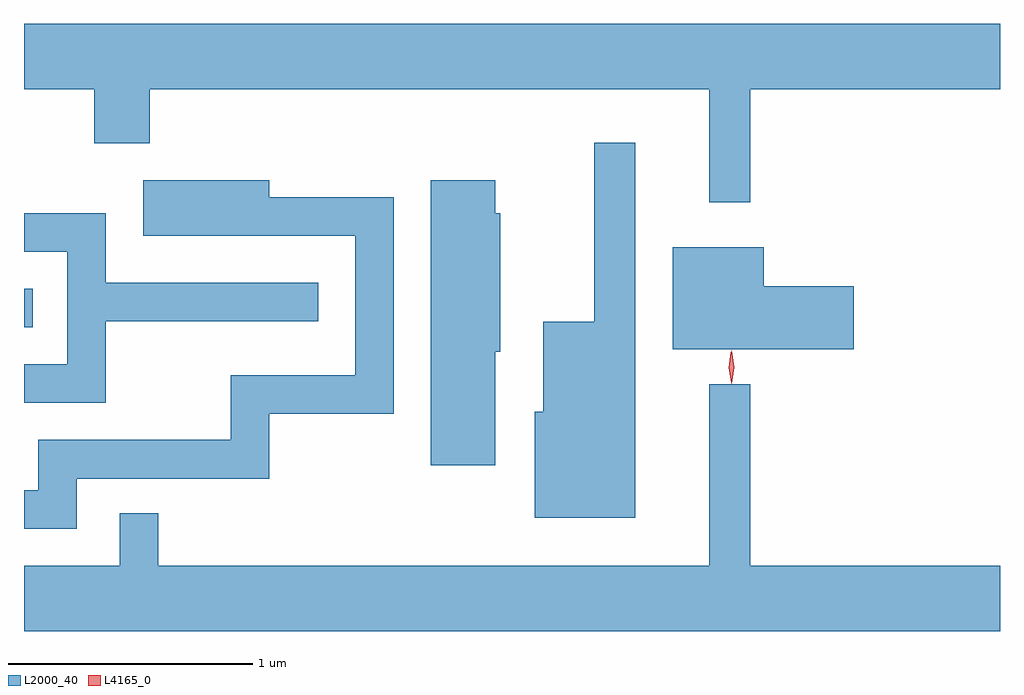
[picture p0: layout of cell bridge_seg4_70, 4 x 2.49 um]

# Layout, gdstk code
import gdstk
lib = gdstk.Library(unit=1e-6, precision=1e-09)
def R(c, l, rs):  # rectangles x0, y0, x1, y1
    for r in rs: c.add(gdstk.rectangle(r[:2], r[2:], *l))
def P(c, l, *ps):  # polygons
    for p in ps: c.add(gdstk.Polygon(p, *l))
L2000_40 = (2000, 40)
L4165_0 = (4165, 0)

bridge_seg4_70 = lib.new_cell('bridge_seg4_70')
R(bridge_seg4_70, L2000_40, [(1614.763,1271.561,1614.798,1271.719)])
P(bridge_seg4_70, L2000_40, [(1617.739,1272.536),(1618.763,1272.536),(1618.763,1272.804),(1614.763,1272.804),(1614.763,1272.536),(1615.051,1272.536),(1615.051,1272.316),(1615.279,1272.316),(1615.279,1272.536),(1617.571,1272.536),(1617.571,1272.073),(1617.739,1272.073)],
  [(1617.269,1272.318),(1617.101,1272.318),(1617.101,1271.584),(1616.891,1271.584),(1616.891,1271.214),(1616.856,1271.214),(1616.856,1270.781),(1617.269,1270.781)],
  [(1614.979,1270.941),(1615.769,1270.941),(1615.769,1271.206),(1616.279,1271.206),(1616.279,1272.094),(1615.769,1272.094),(1615.769,1272.164),(1615.251,1272.164),(1615.251,1271.936),(1616.121,1271.936),(1616.121,1271.364),(1615.611,1271.364),(1615.611,1271.099),(1614.821,1271.099),(1614.821,1270.894),(1614.763,1270.894),(1614.763,1270.736),(1614.979,1270.736)],
  [(1616.694,1271.461),(1616.714,1271.461),(1616.714,1272.029),(1616.694,1272.029),(1616.694,1272.164),(1616.431,1272.164),(1616.431,1270.996),(1616.694,1270.996)],
  [(1615.099,1271.586),(1615.968,1271.586),(1615.968,1271.744),(1615.099,1271.744),(1615.099,1272.029),(1614.763,1272.029),(1614.763,1271.871),(1614.941,1271.871),(1614.941,1271.409),(1614.763,1271.409),(1614.763,1271.251),(1615.099,1271.251)],
  [(1618.164,1271.729),(1617.794,1271.729),(1617.794,1271.889),(1617.421,1271.889),(1617.421,1271.471),(1618.164,1271.471)],
  [(1618.763,1270.584),(1617.739,1270.584),(1617.739,1271.328),(1617.571,1271.328),(1617.571,1270.584),(1615.314,1270.584),(1615.314,1270.798),(1615.156,1270.798),(1615.156,1270.584),(1614.763,1270.584),(1614.763,1270.316),(1618.763,1270.316)])
P(bridge_seg4_70, L4165_0, [(1617.664,1271.33),(1617.664,1271.33),(1617.654,1271.398),(1617.664,1271.465),(1617.664,1271.466),(1617.664,1271.465),(1617.674,1271.398),(1617.664,1271.33)],
  [(1617.661,1271.333),(1617.661,1271.333),(1617.651,1271.396),(1617.66,1271.459),(1617.661,1271.46),(1617.661,1271.459),(1617.671,1271.396),(1617.662,1271.333)])

lib.write_gds('bridge_seg4_70.gds')
